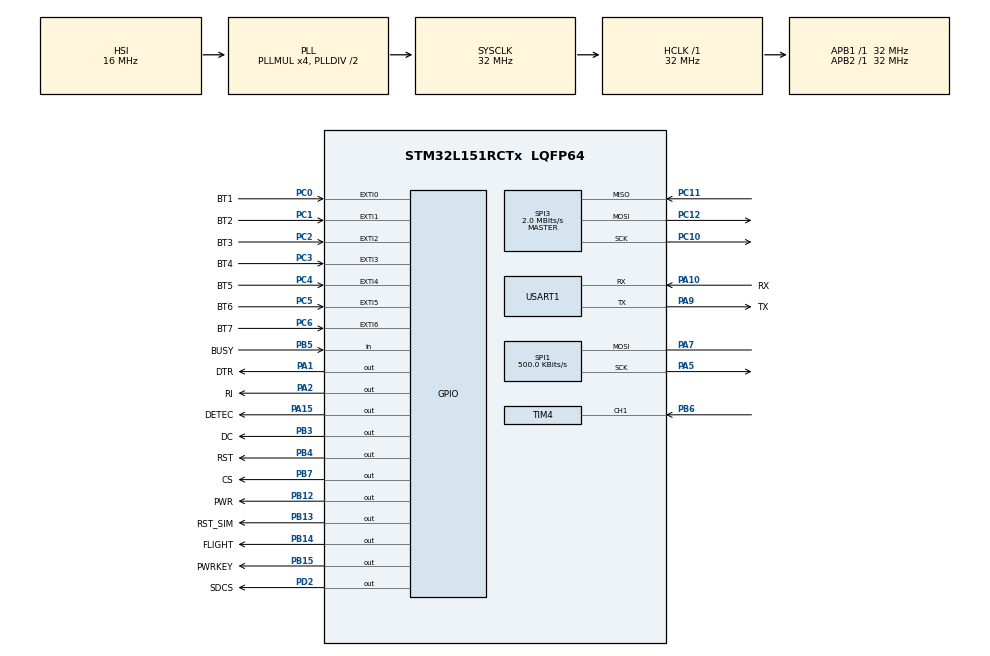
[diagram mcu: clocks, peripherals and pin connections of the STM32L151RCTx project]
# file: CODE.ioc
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Dma.Request0=USART1_RX
Dma.USART1_RX.0.Direction=DMA_PERIPH_TO_MEMORY
Dma.USART1_RX.0.Instance=DMA1_Channel5
Dma.USART1_RX.0.MemDataAlignment=DMA_MDATAALIGN_BYTE
Dma.USART1_RX.0.MemInc=DMA_MINC_ENABLE
Dma.USART1_RX.0.Mode=DMA_NORMAL
Dma.USART1_RX.0.PeriphDataAlignment=DMA_PDATAALIGN_BYTE
Dma.USART1_RX.0.PeriphInc=DMA_PINC_DISABLE
Dma.USART1_RX.0.Priority=DMA_PRIORITY_LOW
FATFS._MAX_SS=1024
FATFS._USE_LFN=1
Mcu.Family=STM32L1
Mcu.Name=STM32L151RCTx
Mcu.Package=LQFP64
NVIC.DMA1_Channel5_IRQn=true\:0\:0\:false\:false\:true\:false\:true\:true
NVIC.EXTI1_IRQn=true\:0\:0\:true\:false\:true\:true\:true\:true
NVIC.EXTI2_IRQn=true\:0\:0\:true\:false\:true\:true\:true\:true
NVIC.EXTI3_IRQn=true\:0\:0\:true\:false\:true\:true\:true\:true
NVIC.EXTI4_IRQn=true\:0\:0\:true\:false\:true\:true\:true\:true
NVIC.EXTI9_5_IRQn=true\:0\:0\:true\:false\:true\:true\:true\:true
NVIC.FLASH_IRQn=true\:0\:0\:false\:false\:true\:true\:true\:true
NVIC.PriorityGroup=NVIC_PRIORITYGROUP_4
NVIC.RCC_IRQn=true\:0\:0\:false\:false\:true\:true\:false\:true
NVIC.SPI1_IRQn=true\:0\:0\:false\:false\:true\:true\:true\:true
NVIC.SPI3_IRQn=true\:0\:0\:false\:false\:true\:true\:true\:true
NVIC.TIM4_IRQn=true\:1\:0\:true\:false\:true\:true\:true\:true
NVIC.USART1_IRQn=true\:0\:0\:false\:false\:true\:true\:true\:true
PA1.GPIO_Label=DTR
PA1.Signal=GPIO_Output
PA10.GPIO_Label=RX
PA10.Mode=Asynchronous
PA10.Signal=USART1_RX
PA13.Mode=Serial_Wire
PA13.Signal=SYS_JTMS-SWDIO
PA14.Mode=Serial_Wire
PA14.Signal=SYS_JTCK-SWCLK
PA15.GPIO_Label=DETEC
PA15.Signal=GPIO_Output
PA2.GPIO_Label=RI
PA2.Signal=GPIO_Output
PA5.Mode=Simplex_Bidirectional_Master
PA5.Signal=SPI1_SCK
PA7.Mode=Simplex_Bidirectional_Master
PA7.Signal=SPI1_MOSI
PA9.GPIO_Label=TX
PA9.Mode=Asynchronous
PA9.Signal=USART1_TX
PB12.GPIO_Label=PWR
PB12.Signal=GPIO_Output
PB13.GPIO_Label=RST_SIM
PB13.Signal=GPIO_Output
PB14.GPIO_Label=FLIGHT
PB14.Signal=GPIO_Output
PB15.GPIO_Label=PWRKEY
PB15.Signal=GPIO_Output
PB3.GPIO_Label=DC
PB3.Signal=GPIO_Output
PB4.GPIO_Label=RST
PB4.Signal=GPIO_Output
PB5.GPIO_Label=BUSY
PB5.Signal=GPIO_Input
PB6.Signal=S_TIM4_CH1
PB7.GPIO_Label=CS
PB7.Signal=GPIO_Output
PC0.GPIO_Label=BT1
PC0.GPIO_ModeDefaultEXTI=GPIO_MODE_EVT_FALLING
PC0.GPIO_PuPd=GPIO_NOPULL
PC0.Signal=GPXTI0
PC1.GPIO_Label=BT2
PC1.GPIO_ModeDefaultEXTI=GPIO_MODE_IT_FALLING
PC1.Signal=GPXTI1
PC10.Mode=Full_Duplex_Master
PC10.Signal=SPI3_SCK
PC11.Mode=Full_Duplex_Master
PC11.Signal=SPI3_MISO
PC12.Mode=Full_Duplex_Master
PC12.Signal=SPI3_MOSI
PC14-OSC32_IN.Mode=LSE-External-Oscillator
PC14-OSC32_IN.Signal=RCC_OSC32_IN
PC15-OSC32_OUT.Mode=LSE-External-Oscillator
PC15-OSC32_OUT.Signal=RCC_OSC32_OUT
PC2.GPIO_Label=BT3
PC2.GPIO_ModeDefaultEXTI=GPIO_MODE_IT_FALLING
PC2.Signal=GPXTI2
PC3.GPIO_Label=BT4
PC3.GPIO_ModeDefaultEXTI=GPIO_MODE_IT_FALLING
PC3.Signal=GPXTI3
PC4.GPIO_Label=BT5
PC4.GPIO_ModeDefaultEXTI=GPIO_MODE_IT_FALLING
PC4.Signal=GPXTI4
PC5.GPIO_Label=BT6
PC5.GPIO_ModeDefaultEXTI=GPIO_MODE_IT_FALLING
PC5.Signal=GPXTI5
PC6.GPIO_Label=BT7
PC6.GPIO_ModeDefaultEXTI=GPIO_MODE_IT_FALLING
PC6.Signal=GPXTI6
PD2.GPIO_Label=SDCS
PD2.GPIO_Speed=GPIO_SPEED_FREQ_VERY_HIGH
PD2.Signal=GPIO_Output
ProjectManager.HeapSize=0x400
ProjectManager.StackSize=0x800
ProjectManager.TargetToolchain=STM32CubeIDE
RCC.48MHZClocksFreq_Value=32000000
RCC.AHBFreq_Value=32000000
RCC.APB1Freq_Value=32000000
RCC.APB1TimFreq_Value=32000000
RCC.APB2Freq_Value=32000000
RCC.APB2TimFreq_Value=32000000
RCC.HCLKFreq_Value=32000000
RCC.HSE_Timout=100
RCC.HSE_VALUE=24000000
RCC.HSI_VALUE=16000000
RCC.LSE_Timout=5000
RCC.MSI_VALUE=2097000
RCC.PLLMUL=RCC_PLL_MUL4
RCC.PREFETCH_ENABLE=1
RCC.RTCClockSelection=RCC_RTCCLKSOURCE_LSE
RCC.RTCClockSelectionVirtual=RCC_RTCCLKSOURCE_LSE
RCC.SYSCLKFreq_VALUE=32000000
RCC.SYSCLKSource=RCC_SYSCLKSOURCE_PLLCLK
RCC.VCOOutputFreq_Value=64000000
RTC.Format=RTC_FORMAT_BIN
RTC.Hours=0
RTC.Minutes=0
RTC.Seconds=30
RTC.StoreOperation=RTC_STOREOPERATION_RESET
RTC.SynchPrediv=255
SH.S_TIM4_CH1.0=TIM4_CH1,Input_Capture1_from_TI1
SPI1.BaudRatePrescaler=SPI_BAUDRATEPRESCALER_64
SPI1.CalculateBaudRate=500.0 KBits/s
SPI1.Direction=SPI_DIRECTION_1LINE
SPI1.Mode=SPI_MODE_MASTER
SPI1.VirtualType=VM_MASTER
SPI3.BaudRatePrescaler=SPI_BAUDRATEPRESCALER_16
SPI3.CalculateBaudRate=2.0 MBits/s
SPI3.DataSize=SPI_DATASIZE_8BIT
SPI3.Direction=SPI_DIRECTION_2LINES
SPI3.FirstBit=SPI_FIRSTBIT_MSB
SPI3.Mode=SPI_MODE_MASTER
SPI3.VirtualType=VM_MASTER
TIM4.Channel-Input_Capture1_from_TI1=TIM_CHANNEL_1
TIM4.ICPolarity_CH1=TIM_INPUTCHANNELPOLARITY_FALLING
TIM4.Period=999
TIM4.Prescaler=32000
TIM4.TIM_MasterSlaveMode=TIM_MASTERSLAVEMODE_ENABLE
USART1.VirtualMode=VM_ASYNC
VP_FATFS_VS_Generic.Mode=User_defined
VP_RTC_VS_RTC_Activate.Mode=RTC_Enabled
VP_RTC_VS_RTC_Calendar.Mode=RTC_Calendar
board=custom

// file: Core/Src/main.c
/* USER CODE BEGIN Header */
/**
 ******************************************************************************
 * @file           : main.c
 * @brief          : Main program body
 ******************************************************************************
 * @attention
 *
 * Copyright (c) 2023 STMicroelectronics.
 * All rights reserved.
 *
 * This software is licensed under terms that can be found in the LICENSE file
 * in the root directory of this software component.
 * If no LICENSE file comes with this software, it is provided AS-IS.
 *
 ******************************************************************************
 */
/* USER CODE END Header */
#include "main.h"
#include "fatfs.h"

/* USER CODE BEGIN Includes */
#include "../../CONTROLLER/inc/maincontroller.h"

/* USER CODE END Includes */

RTC_HandleTypeDef hrtc;

SPI_HandleTypeDef hspi1;
SPI_HandleTypeDef hspi3;

TIM_HandleTypeDef htim4;

UART_HandleTypeDef huart1;
DMA_HandleTypeDef hdma_usart1_rx;

/* USER CODE BEGIN PV */

DATA data;
SIM7600 sim;
DEVICE device;
REALTIME realtimedata;
/* USER CODE END PV */

void SystemClock_Config(void);
static void MX_GPIO_Init(void);
static void MX_DMA_Init(void);
static void MX_USART1_UART_Init(void);
static void MX_RTC_Init(void);
static void MX_SPI1_Init(void);
static void MX_SPI3_Init(void);
static void MX_TIM4_Init(void);

/* USER CODE BEGIN 0 */
uint8_t gettick;
uint8_t time;
uint8_t ButtionOn = 0;
void HAL_GPIO_EXTI_Callback(uint16_t GPIO_PIN) {
	gettick = HAL_GetTick();
	// if (gettick - time > 20)
	{
		switch (GPIO_PIN) {
		case BUTTION7:
			ButtionOn = 1;
			break;
		case BUTTION6:
			ButtionOn = 2;
			break;
		case BUTTION5:
			ButtionOn = 3;
			break;
		case BUTTION4:
			ButtionOn = 4;
			break;
		case BUTTION3:
			ButtionOn = 5;
			break;
		case BUTTION2:
			ButtionOn = 6;
			break;
		case BUTTION1:
			ButtionOn = 7;
			break;
		}
		time = HAL_GetTick();
	}
}
void HAL_TIM_IC_CaptureCallback(TIM_HandleTypeDef *htim) {
	if (htim->Channel == HAL_TIM_ACTIVE_CHANNEL_1) {
		data.countTime = evenMode(&data, RUN_TIME);
		data.evenMode = countTime(&data, RUN_COUNT);
	}
}

void HAL_UARTEx_RxEventCallback(UART_HandleTypeDef *huart, uint16_t Size) {
	sim.rxFlag = SIMTRUE;
	SIM_StatusTypeDef status = SIM_BUSY;
	HAL_UARTEx_ReceiveToIdle_DMA(sim.UART, (uint8_t*) sim.rxBuffer,	SIM_BUFFER_SIZE);
}
/* USER CODE END 0 */

int main(void)
{

  /* MCU Configuration--------------------------------------------------------*/

  /* Reset of all peripherals, Initializes the Flash interface and the Systick. */
   HAL_Init();

  /* Configure the system clock */
  SystemClock_Config();

  /* Initialize all configured peripherals */
  MX_GPIO_Init();
  MX_DMA_Init();
  MX_USART1_UART_Init();
  MX_RTC_Init();
  MX_SPI1_Init();
  MX_SPI3_Init();
  MX_TIM4_Init();
  MX_FATFS_Init();
  /* USER CODE BEGIN 2 */

//	EPD_init_Full();
//
//	EPD_Dis_Full((unsigned char *)gImage_logo, 1); //	pic
//
//
//	EPAPER_Init_Part();
//
//	//EPAPER_ClearPart();
//	for (int i = 0; i < 30; ++i) {
//		EPD_Dis_Part(10, 20, 20, 35, (unsigned char*) &letter[i], 1);
//		HAL_Delay(3000);
//	}

	start();

	HAL_TIM_OC_Start_IT(&htim4, TIM_CHANNEL_1);

  /* USER CODE END 2 */

  /* Infinite loop */
	while (1) {

    /* USER CODE BEGIN 3 */

		maincontroller();
	}
  /* USER CODE END 3 */
}

void SystemClock_Config(void)
{
  RCC_OscInitTypeDef RCC_OscInitStruct = {0};
  RCC_ClkInitTypeDef RCC_ClkInitStruct = {0};
  RCC_PeriphCLKInitTypeDef PeriphClkInit = {0};

  /** Configure the main internal regulator output voltage
  */
  __HAL_PWR_VOLTAGESCALING_CONFIG(PWR_REGULATOR_VOLTAGE_SCALE1);

  /** Initializes the RCC Oscillators according to the specified parameters
  * in the RCC_OscInitTypeDef structure.
  */
  RCC_OscInitStruct.OscillatorType = RCC_OSCILLATORTYPE_HSI|RCC_OSCILLATORTYPE_LSE;
  RCC_OscInitStruct.LSEState = RCC_LSE_ON;
  RCC_OscInitStruct.HSIState = RCC_HSI_ON;
  RCC_OscInitStruct.HSICalibrationValue = RCC_HSICALIBRATION_DEFAULT;
  RCC_OscInitStruct.PLL.PLLState = RCC_PLL_ON;
  RCC_OscInitStruct.PLL.PLLSource = RCC_PLLSOURCE_HSI;
  RCC_OscInitStruct.PLL.PLLMUL = RCC_PLL_MUL4;
  RCC_OscInitStruct.PLL.PLLDIV = RCC_PLL_DIV2;
  if (HAL_RCC_OscConfig(&RCC_OscInitStruct) != HAL_OK)
  {
    Error_Handler();
  }

  /** Initializes the CPU, AHB and APB buses clocks
  */
  RCC_ClkInitStruct.ClockType = RCC_CLOCKTYPE_HCLK|RCC_CLOCKTYPE_SYSCLK
                              |RCC_CLOCKTYPE_PCLK1|RCC_CLOCKTYPE_PCLK2;
  RCC_ClkInitStruct.SYSCLKSource = RCC_SYSCLKSOURCE_PLLCLK;
  RCC_ClkInitStruct.AHBCLKDivider = RCC_SYSCLK_DIV1;
  RCC_ClkInitStruct.APB1CLKDivider = RCC_HCLK_DIV1;
  RCC_ClkInitStruct.APB2CLKDivider = RCC_HCLK_DIV1;

  if (HAL_RCC_ClockConfig(&RCC_ClkInitStruct, FLASH_LATENCY_1) != HAL_OK)
  {
    Error_Handler();
  }
  PeriphClkInit.PeriphClockSelection = RCC_PERIPHCLK_RTC;
  PeriphClkInit.RTCClockSelection = RCC_RTCCLKSOURCE_LSE;
  if (HAL_RCCEx_PeriphCLKConfig(&PeriphClkInit) != HAL_OK)
  {
    Error_Handler();
  }
}

static void MX_RTC_Init(void)
{

  RTC_TimeTypeDef sTime = {0};
  RTC_DateTypeDef sDate = {0};

  /** Initialize RTC Only
  */
  hrtc.Instance = RTC;
  hrtc.Init.HourFormat = RTC_HOURFORMAT_24;
  hrtc.Init.AsynchPrediv = 127;
  hrtc.Init.SynchPrediv = 255;
  hrtc.Init.OutPut = RTC_OUTPUT_DISABLE;
  hrtc.Init.OutPutPolarity = RTC_OUTPUT_POLARITY_HIGH;
  hrtc.Init.OutPutType = RTC_OUTPUT_TYPE_OPENDRAIN;
  if (HAL_RTC_Init(&hrtc) != HAL_OK)
  {
    Error_Handler();
  }

  /** Initialize RTC and set the Time and Date
  */
  sTime.Hours = 0;
  sTime.Minutes = 0;
  sTime.Seconds = 30;
  sTime.DayLightSaving = RTC_DAYLIGHTSAVING_NONE;
  sTime.StoreOperation = RTC_STOREOPERATION_RESET;
  if (HAL_RTC_SetTime(&hrtc, &sTime, RTC_FORMAT_BIN) != HAL_OK)
  {
    Error_Handler();
  }
  sDate.WeekDay = RTC_WEEKDAY_MONDAY;
  sDate.Month = RTC_MONTH_JANUARY;
  sDate.Date = 1;
  sDate.Year = 0;

  if (HAL_RTC_SetDate(&hrtc, &sDate, RTC_FORMAT_BIN) != HAL_OK)
  {
    Error_Handler();
  }

}

static void MX_SPI1_Init(void)
{

  /* SPI1 parameter configuration*/
  hspi1.Instance = SPI1;
  hspi1.Init.Mode = SPI_MODE_MASTER;
  hspi1.Init.Direction = SPI_DIRECTION_1LINE;
  hspi1.Init.DataSize = SPI_DATASIZE_8BIT;
  hspi1.Init.CLKPolarity = SPI_POLARITY_LOW;
  hspi1.Init.CLKPhase = SPI_PHASE_1EDGE;
  hspi1.Init.NSS = SPI_NSS_SOFT;
  hspi1.Init.BaudRatePrescaler = SPI_BAUDRATEPRESCALER_64;
  hspi1.Init.FirstBit = SPI_FIRSTBIT_MSB;
  hspi1.Init.TIMode = SPI_TIMODE_DISABLE;
  hspi1.Init.CRCCalculation = SPI_CRCCALCULATION_DISABLE;
  hspi1.Init.CRCPolynomial = 10;
  if (HAL_SPI_Init(&hspi1) != HAL_OK)
  {
    Error_Handler();
  }

}

static void MX_SPI3_Init(void)
{

  /* SPI3 parameter configuration*/
  hspi3.Instance = SPI3;
  hspi3.Init.Mode = SPI_MODE_MASTER;
  hspi3.Init.Direction = SPI_DIRECTION_2LINES;
  hspi3.Init.DataSize = SPI_DATASIZE_8BIT;
  hspi3.Init.CLKPolarity = SPI_POLARITY_LOW;
  hspi3.Init.CLKPhase = SPI_PHASE_1EDGE;
  hspi3.Init.NSS = SPI_NSS_SOFT;
  hspi3.Init.BaudRatePrescaler = SPI_BAUDRATEPRESCALER_16;
  hspi3.Init.FirstBit = SPI_FIRSTBIT_MSB;
  hspi3.Init.TIMode = SPI_TIMODE_DISABLE;
  hspi3.Init.CRCCalculation = SPI_CRCCALCULATION_DISABLE;
  hspi3.Init.CRCPolynomial = 10;
  if (HAL_SPI_Init(&hspi3) != HAL_OK)
  {
    Error_Handler();
  }

}

static void MX_TIM4_Init(void)
{

  TIM_MasterConfigTypeDef sMasterConfig = {0};
  TIM_IC_InitTypeDef sConfigIC = {0};

  htim4.Instance = TIM4;
  htim4.Init.Prescaler = 32000;
  htim4.Init.CounterMode = TIM_COUNTERMODE_UP;
  htim4.Init.Period = 999;
  htim4.Init.ClockDivision = TIM_CLOCKDIVISION_DIV1;
  htim4.Init.AutoReloadPreload = TIM_AUTORELOAD_PRELOAD_DISABLE;
  if (HAL_TIM_IC_Init(&htim4) != HAL_OK)
  {
    Error_Handler();
  }
  sMasterConfig.MasterOutputTrigger = TIM_TRGO_RESET;
  sMasterConfig.MasterSlaveMode = TIM_MASTERSLAVEMODE_ENABLE;
  if (HAL_TIMEx_MasterConfigSynchronization(&htim4, &sMasterConfig) != HAL_OK)
  {
    Error_Handler();
  }
  sConfigIC.ICPolarity = TIM_INPUTCHANNELPOLARITY_FALLING;
  sConfigIC.ICSelection = TIM_ICSELECTION_DIRECTTI;
  sConfigIC.ICPrescaler = TIM_ICPSC_DIV1;
  sConfigIC.ICFilter = 0;
  if (HAL_TIM_IC_ConfigChannel(&htim4, &sConfigIC, TIM_CHANNEL_1) != HAL_OK)
  {
    Error_Handler();
  }

}

static void MX_USART1_UART_Init(void)
{

  huart1.Instance = USART1;
  huart1.Init.BaudRate = 115200;
  huart1.Init.WordLength = UART_WORDLENGTH_8B;
  huart1.Init.StopBits = UART_STOPBITS_1;
  huart1.Init.Parity = UART_PARITY_NONE;
  huart1.Init.Mode = UART_MODE_TX_RX;
  huart1.Init.HwFlowCtl = UART_HWCONTROL_NONE;
  huart1.Init.OverSampling = UART_OVERSAMPLING_16;
  if (HAL_UART_Init(&huart1) != HAL_OK)
  {
    Error_Handler();
  }

}

static void MX_DMA_Init(void)
{

  /* DMA controller clock enable */
  __HAL_RCC_DMA1_CLK_ENABLE();

  /* DMA interrupt init */
  /* DMA1_Channel5_IRQn interrupt configuration */
  HAL_NVIC_SetPriority(DMA1_Channel5_IRQn, 0, 0);
  HAL_NVIC_EnableIRQ(DMA1_Channel5_IRQn);

}

static void MX_GPIO_Init(void)
{
  GPIO_InitTypeDef GPIO_InitStruct = {0};

  /* GPIO Ports Clock Enable */
  __HAL_RCC_GPIOC_CLK_ENABLE();
  __HAL_RCC_GPIOA_CLK_ENABLE();
  __HAL_RCC_GPIOB_CLK_ENABLE();
  __HAL_RCC_GPIOD_CLK_ENABLE();

  /*Configure GPIO pin Output Level */
  HAL_GPIO_WritePin(GPIOA, DTR_Pin|RI_Pin|DETEC_Pin, GPIO_PIN_RESET);

  /*Configure GPIO pin Output Level */
  HAL_GPIO_WritePin(GPIOB, PWR_Pin|RST_SIM_Pin|FLIGHT_Pin|PWRKEY_Pin
                          |DC_Pin|RST_Pin|CS_Pin, GPIO_PIN_RESET);

  /*Configure GPIO pin Output Level */
  HAL_GPIO_WritePin(SDCS_GPIO_Port, SDCS_Pin, GPIO_PIN_RESET);

  /*Configure GPIO pin : BT1_Pin */
  GPIO_InitStruct.Pin = BT1_Pin;
  GPIO_InitStruct.Mode = GPIO_MODE_EVT_FALLING;
  GPIO_InitStruct.Pull = GPIO_NOPULL;
  HAL_GPIO_Init(BT1_GPIO_Port, &GPIO_InitStruct);

  /*Configure GPIO pins : BT2_Pin BT3_Pin BT4_Pin BT5_Pin
                           BT6_Pin BT7_Pin */
  GPIO_InitStruct.Pin = BT2_Pin|BT3_Pin|BT4_Pin|BT5_Pin
                          |BT6_Pin|BT7_Pin;
  GPIO_InitStruct.Mode = GPIO_MODE_IT_FALLING;
  GPIO_InitStruct.Pull = GPIO_NOPULL;
  HAL_GPIO_Init(GPIOC, &GPIO_InitStruct);

  /*Configure GPIO pins : DTR_Pin RI_Pin DETEC_Pin */
  GPIO_InitStruct.Pin = DTR_Pin|RI_Pin|DETEC_Pin;
  GPIO_InitStruct.Mode = GPIO_MODE_OUTPUT_PP;
  GPIO_InitStruct.Pull = GPIO_NOPULL;
  GPIO_InitStruct.Speed = GPIO_SPEED_FREQ_LOW;
  HAL_GPIO_Init(GPIOA, &GPIO_InitStruct);

  /*Configure GPIO pins : PWR_Pin RST_SIM_Pin FLIGHT_Pin PWRKEY_Pin
                           DC_Pin RST_Pin CS_Pin */
  GPIO_InitStruct.Pin = PWR_Pin|RST_SIM_Pin|FLIGHT_Pin|PWRKEY_Pin
                          |DC_Pin|RST_Pin|CS_Pin;
  GPIO_InitStruct.Mode = GPIO_MODE_OUTPUT_PP;
  GPIO_InitStruct.Pull = GPIO_NOPULL;
  GPIO_InitStruct.Speed = GPIO_SPEED_FREQ_LOW;
  HAL_GPIO_Init(GPIOB, &GPIO_InitStruct);

  /*Configure GPIO pin : SDCS_Pin */
  GPIO_InitStruct.Pin = SDCS_Pin;
  GPIO_InitStruct.Mode = GPIO_MODE_OUTPUT_PP;
  GPIO_InitStruct.Pull = GPIO_NOPULL;
  GPIO_InitStruct.Speed = GPIO_SPEED_FREQ_VERY_HIGH;
  HAL_GPIO_Init(SDCS_GPIO_Port, &GPIO_InitStruct);

  /*Configure GPIO pin : BUSY_Pin */
  GPIO_InitStruct.Pin = BUSY_Pin;
  GPIO_InitStruct.Mode = GPIO_MODE_INPUT;
  GPIO_InitStruct.Pull = GPIO_NOPULL;
  HAL_GPIO_Init(BUSY_GPIO_Port, &GPIO_InitStruct);

  /* EXTI interrupt init*/
  HAL_NVIC_SetPriority(EXTI1_IRQn, 0, 0);
  HAL_NVIC_EnableIRQ(EXTI1_IRQn);

  HAL_NVIC_SetPriority(EXTI2_IRQn, 0, 0);
  HAL_NVIC_EnableIRQ(EXTI2_IRQn);

  HAL_NVIC_SetPriority(EXTI3_IRQn, 0, 0);
  HAL_NVIC_EnableIRQ(EXTI3_IRQn);

  HAL_NVIC_SetPriority(EXTI4_IRQn, 0, 0);
  HAL_NVIC_EnableIRQ(EXTI4_IRQn);

  HAL_NVIC_SetPriority(EXTI9_5_IRQn, 0, 0);
  HAL_NVIC_EnableIRQ(EXTI9_5_IRQn);

}

void Error_Handler(void)
{
	__disable_irq();
	while (1) {
	}
}
